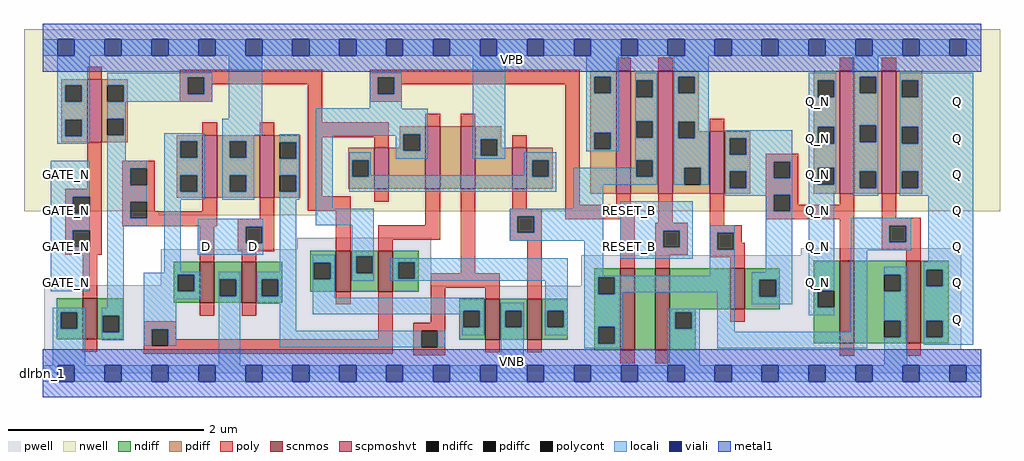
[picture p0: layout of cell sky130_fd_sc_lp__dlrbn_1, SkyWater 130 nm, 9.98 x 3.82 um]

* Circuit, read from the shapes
.subckt sky130_fd_sc_lp__dlrbn_1 D GATE_N RESET_B VGND VNB VPB VPWR Q Q_N
XM1 n1 GATE_N VGND VNB sky130_fd_pr__nfet_01v8 w=0.42 l=0.15
XM2 VGND n1 n2 VNB sky130_fd_pr__nfet_01v8 w=0.42 l=0.15
XM3 n3 D VGND VNB sky130_fd_pr__nfet_01v8 w=0.42 l=0.15
XM4 n4 n1 n5 VNB sky130_fd_pr__nfet_01v8 w=0.42 l=0.15
XM5 n6 n2 n4 VNB sky130_fd_pr__nfet_01v8 w=0.42 l=0.15
XM6 VGND n3 n5 VNB sky130_fd_pr__nfet_01v8 w=0.42 l=0.15
XM7 n6 n7 VGND VNB sky130_fd_pr__nfet_01v8 w=0.42 l=0.15
XM8 n8 n4 n7 VNB sky130_fd_pr__nfet_01v8 w=0.84 l=0.15
XM9 VGND RESET_B n8 VNB sky130_fd_pr__nfet_01v8 w=0.84 l=0.15
XM10 n9 n7 VGND VNB sky130_fd_pr__nfet_01v8 w=0.42 l=0.15
XM11 VGND n9 Q_N VNB sky130_fd_pr__nfet_01v8 w=0.84 l=0.15
XM12 Q n7 VGND VNB sky130_fd_pr__nfet_01v8 w=0.84 l=0.15
XM13 n1 GATE_N VPWR VPB sky130_fd_pr__pfet_01v8_hvt w=0.64 l=0.15
XM14 VPWR n1 n2 VPB sky130_fd_pr__pfet_01v8_hvt w=0.64 l=0.15
XM15 n3 D VPWR VPB sky130_fd_pr__pfet_01v8_hvt w=0.64 l=0.15
XM16 n4 n1 n10 VPB sky130_fd_pr__pfet_01v8_hvt w=0.42 l=0.15
XM17 n11 n2 n4 VPB sky130_fd_pr__pfet_01v8_hvt w=0.64 l=0.15
XM18 VPWR n3 n11 VPB sky130_fd_pr__pfet_01v8_hvt w=0.64 l=0.15
XM19 n10 n7 VPWR VPB sky130_fd_pr__pfet_01v8_hvt w=0.42 l=0.15
XM20 n7 n4 VPWR VPB sky130_fd_pr__pfet_01v8_hvt w=1.26 l=0.15
XM21 VPWR RESET_B n7 VPB sky130_fd_pr__pfet_01v8_hvt w=1.26 l=0.15
XM22 n9 n7 VPWR VPB sky130_fd_pr__pfet_01v8_hvt w=0.64 l=0.15
XM23 VPWR n9 Q_N VPB sky130_fd_pr__pfet_01v8_hvt w=1.26 l=0.15
XM24 Q n7 VPWR VPB sky130_fd_pr__pfet_01v8_hvt w=1.26 l=0.15
.ends

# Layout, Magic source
magic
tech sky130A
magscale 1 2
<< nwell >>
rect -38 331 1958 704
rect 238 323 563 331
<< pwell >>
rect 521 254 795 277
rect 242 180 795 254
rect 1551 241 1879 256
rect 3 179 795 180
rect 1102 179 1879 241
rect 3 49 1879 179
rect 0 0 1920 49
<< scnmos >>
rect 82 70 112 154
rect 321 144 351 228
rect 407 144 437 228
rect 600 167 630 251
rect 686 167 716 251
rect 905 69 935 153
rect 991 69 1021 153
rect 1181 47 1211 215
rect 1253 47 1283 215
rect 1406 131 1436 215
rect 1630 62 1660 230
rect 1766 62 1796 230
<< scpmoshvt >>
rect 91 473 121 601
rect 327 359 357 487
rect 444 359 474 487
rect 678 377 708 461
rect 783 377 813 505
rect 855 377 885 505
rect 960 377 990 461
rect 1173 367 1203 619
rect 1259 367 1289 619
rect 1364 367 1394 495
rect 1630 367 1660 619
rect 1716 367 1746 619
<< ndiff >>
rect 268 202 321 228
rect 268 168 276 202
rect 310 168 321 202
rect 29 125 82 154
rect 29 91 37 125
rect 71 91 82 125
rect 29 70 82 91
rect 112 118 165 154
rect 268 144 321 168
rect 351 192 407 228
rect 351 158 362 192
rect 396 158 407 192
rect 351 144 407 158
rect 437 192 490 228
rect 437 158 448 192
rect 482 158 490 192
rect 547 226 600 251
rect 547 192 555 226
rect 589 192 600 226
rect 547 167 600 192
rect 630 239 686 251
rect 630 205 641 239
rect 675 205 686 239
rect 630 167 686 205
rect 716 227 769 251
rect 716 193 727 227
rect 761 193 769 227
rect 716 167 769 193
rect 437 144 490 158
rect 112 84 123 118
rect 157 84 165 118
rect 112 70 165 84
rect 1128 196 1181 215
rect 1128 162 1136 196
rect 1170 162 1181 196
rect 852 128 905 153
rect 852 94 860 128
rect 894 94 905 128
rect 852 69 905 94
rect 935 128 991 153
rect 935 94 946 128
rect 980 94 991 128
rect 935 69 991 94
rect 1021 128 1074 153
rect 1021 94 1032 128
rect 1066 94 1074 128
rect 1021 69 1074 94
rect 1128 95 1181 162
rect 1128 61 1136 95
rect 1170 61 1181 95
rect 1128 47 1181 61
rect 1211 47 1253 215
rect 1283 131 1406 215
rect 1436 191 1508 215
rect 1436 157 1466 191
rect 1500 157 1508 191
rect 1436 131 1508 157
rect 1577 169 1630 230
rect 1577 135 1585 169
rect 1619 135 1630 169
rect 1283 125 1336 131
rect 1283 91 1294 125
rect 1328 91 1336 125
rect 1283 47 1336 91
rect 1577 62 1630 135
rect 1660 202 1766 230
rect 1660 168 1721 202
rect 1755 168 1766 202
rect 1660 108 1766 168
rect 1660 74 1721 108
rect 1755 74 1766 108
rect 1660 62 1766 74
rect 1796 212 1853 230
rect 1796 178 1807 212
rect 1841 178 1853 212
rect 1796 108 1853 178
rect 1796 74 1807 108
rect 1841 74 1853 108
rect 1796 62 1853 74
<< pdiff >>
rect 38 589 91 601
rect 38 555 46 589
rect 80 555 91 589
rect 38 519 91 555
rect 38 485 46 519
rect 80 485 91 519
rect 38 473 91 485
rect 121 589 174 601
rect 121 555 132 589
rect 166 555 174 589
rect 121 521 174 555
rect 121 487 132 521
rect 166 487 174 521
rect 121 473 174 487
rect 274 475 327 487
rect 274 441 282 475
rect 316 441 327 475
rect 274 405 327 441
rect 274 371 282 405
rect 316 371 327 405
rect 274 359 327 371
rect 357 475 444 487
rect 357 441 383 475
rect 417 441 444 475
rect 357 405 444 441
rect 357 371 383 405
rect 417 371 444 405
rect 357 359 444 371
rect 474 473 527 487
rect 474 439 485 473
rect 519 439 527 473
rect 474 405 527 439
rect 474 371 485 405
rect 519 371 527 405
rect 474 359 527 371
rect 730 489 783 505
rect 730 461 738 489
rect 625 436 678 461
rect 625 402 633 436
rect 667 402 678 436
rect 625 377 678 402
rect 708 455 738 461
rect 772 455 783 489
rect 708 377 783 455
rect 813 377 855 505
rect 885 479 938 505
rect 885 445 896 479
rect 930 461 938 479
rect 930 445 960 461
rect 885 377 960 445
rect 990 436 1043 461
rect 990 402 1001 436
rect 1035 402 1043 436
rect 990 377 1043 402
rect 1120 607 1173 619
rect 1120 573 1128 607
rect 1162 573 1173 607
rect 1120 492 1173 573
rect 1120 458 1128 492
rect 1162 458 1173 492
rect 1120 367 1173 458
rect 1203 599 1259 619
rect 1203 565 1214 599
rect 1248 565 1259 599
rect 1203 516 1259 565
rect 1203 482 1214 516
rect 1248 482 1259 516
rect 1203 436 1259 482
rect 1203 402 1214 436
rect 1248 402 1259 436
rect 1203 367 1259 402
rect 1289 607 1342 619
rect 1289 573 1300 607
rect 1334 573 1342 607
rect 1289 515 1342 573
rect 1577 599 1630 619
rect 1577 565 1585 599
rect 1619 565 1630 599
rect 1289 481 1300 515
rect 1334 495 1342 515
rect 1577 504 1630 565
rect 1334 481 1364 495
rect 1289 420 1364 481
rect 1289 386 1312 420
rect 1346 386 1364 420
rect 1289 367 1364 386
rect 1394 481 1447 495
rect 1394 447 1405 481
rect 1439 447 1447 481
rect 1577 470 1585 504
rect 1619 470 1630 504
rect 1394 413 1447 447
rect 1394 379 1405 413
rect 1439 379 1447 413
rect 1394 367 1447 379
rect 1577 420 1630 470
rect 1577 386 1585 420
rect 1619 386 1630 420
rect 1577 367 1630 386
rect 1660 607 1716 619
rect 1660 573 1671 607
rect 1705 573 1716 607
rect 1660 507 1716 573
rect 1660 473 1671 507
rect 1705 473 1716 507
rect 1660 413 1716 473
rect 1660 379 1671 413
rect 1705 379 1716 413
rect 1660 367 1716 379
rect 1746 599 1799 619
rect 1746 565 1757 599
rect 1791 565 1799 599
rect 1746 504 1799 565
rect 1746 470 1757 504
rect 1791 470 1799 504
rect 1746 413 1799 470
rect 1746 379 1757 413
rect 1791 379 1799 413
rect 1746 367 1799 379
<< ndiffc >>
rect 276 168 310 202
rect 37 91 71 125
rect 362 158 396 192
rect 448 158 482 192
rect 555 192 589 226
rect 641 205 675 239
rect 727 193 761 227
rect 123 84 157 118
rect 1136 162 1170 196
rect 860 94 894 128
rect 946 94 980 128
rect 1032 94 1066 128
rect 1136 61 1170 95
rect 1466 157 1500 191
rect 1585 135 1619 169
rect 1294 91 1328 125
rect 1721 168 1755 202
rect 1721 74 1755 108
rect 1807 178 1841 212
rect 1807 74 1841 108
<< pdiffc >>
rect 46 555 80 589
rect 46 485 80 519
rect 132 555 166 589
rect 132 487 166 521
rect 282 441 316 475
rect 282 371 316 405
rect 383 441 417 475
rect 383 371 417 405
rect 485 439 519 473
rect 485 371 519 405
rect 633 402 667 436
rect 738 455 772 489
rect 896 445 930 479
rect 1001 402 1035 436
rect 1128 573 1162 607
rect 1128 458 1162 492
rect 1214 565 1248 599
rect 1214 482 1248 516
rect 1214 402 1248 436
rect 1300 573 1334 607
rect 1585 565 1619 599
rect 1300 481 1334 515
rect 1312 386 1346 420
rect 1405 447 1439 481
rect 1585 470 1619 504
rect 1405 379 1439 413
rect 1585 386 1619 420
rect 1671 573 1705 607
rect 1671 473 1705 507
rect 1671 379 1705 413
rect 1757 565 1791 599
rect 1757 470 1791 504
rect 1757 379 1791 413
<< poly >>
rect 91 601 121 627
rect 281 605 572 621
rect 281 571 297 605
rect 331 591 572 605
rect 331 571 347 591
rect 281 555 347 571
rect 542 513 572 591
rect 669 605 1099 621
rect 1173 619 1203 645
rect 1259 619 1289 645
rect 1630 619 1660 645
rect 1716 619 1746 645
rect 669 571 685 605
rect 719 591 1099 605
rect 719 571 735 591
rect 669 555 735 571
rect 327 487 357 513
rect 444 487 474 513
rect 91 377 121 473
rect 46 361 121 377
rect 46 327 62 361
rect 96 327 121 361
rect 46 293 121 327
rect 163 419 229 435
rect 163 385 179 419
rect 213 385 229 419
rect 163 351 229 385
rect 542 483 708 513
rect 783 505 813 531
rect 855 505 885 531
rect 542 362 572 483
rect 678 461 708 483
rect 960 461 990 487
rect 163 317 179 351
rect 213 331 229 351
rect 327 331 357 359
rect 213 317 357 331
rect 163 301 357 317
rect 444 316 474 359
rect 542 332 630 362
rect 678 351 708 377
rect 46 259 62 293
rect 96 259 121 293
rect 46 243 121 259
rect 82 154 112 243
rect 321 228 351 301
rect 399 300 474 316
rect 399 266 415 300
rect 449 266 474 300
rect 399 250 474 266
rect 600 251 630 332
rect 783 303 813 377
rect 686 273 813 303
rect 686 251 716 273
rect 407 228 437 250
rect 855 205 885 377
rect 960 337 990 377
rect 1069 345 1099 591
rect 1364 495 1394 521
rect 1479 433 1545 449
rect 1479 399 1495 433
rect 1529 399 1545 433
rect 1173 345 1203 367
rect 955 321 1021 337
rect 955 287 971 321
rect 1005 287 1021 321
rect 1069 315 1211 345
rect 955 271 1021 287
rect 794 175 935 205
rect 321 118 351 144
rect 407 118 437 144
rect 600 141 630 167
rect 207 90 273 106
rect 82 44 112 70
rect 207 56 223 90
rect 257 70 273 90
rect 686 70 716 167
rect 794 103 824 175
rect 905 153 935 175
rect 991 153 1021 271
rect 1181 215 1211 315
rect 1259 308 1289 367
rect 1253 292 1319 308
rect 1253 258 1269 292
rect 1303 258 1319 292
rect 1253 242 1319 258
rect 1364 303 1394 367
rect 1479 365 1545 399
rect 1479 331 1495 365
rect 1529 345 1545 365
rect 1630 345 1660 367
rect 1529 331 1660 345
rect 1479 315 1660 331
rect 1364 287 1430 303
rect 1364 253 1380 287
rect 1414 267 1430 287
rect 1414 253 1436 267
rect 1253 215 1283 242
rect 1364 237 1436 253
rect 1406 215 1436 237
rect 1630 230 1660 315
rect 1716 318 1746 367
rect 1716 302 1796 318
rect 1716 268 1732 302
rect 1766 268 1796 302
rect 1716 252 1796 268
rect 1766 230 1796 252
rect 257 56 716 70
rect 207 40 716 56
rect 758 87 824 103
rect 758 53 774 87
rect 808 53 824 87
rect 758 37 824 53
rect 905 43 935 69
rect 991 43 1021 69
rect 1406 105 1436 131
rect 1181 21 1211 47
rect 1253 21 1283 47
rect 1630 36 1660 62
rect 1766 36 1796 62
<< polycont >>
rect 297 571 331 605
rect 685 571 719 605
rect 62 327 96 361
rect 179 385 213 419
rect 179 317 213 351
rect 62 259 96 293
rect 415 266 449 300
rect 1495 399 1529 433
rect 971 287 1005 321
rect 223 56 257 90
rect 1269 258 1303 292
rect 1495 331 1529 365
rect 1380 253 1414 287
rect 1732 268 1766 302
rect 774 53 808 87
<< locali >>
rect 0 649 31 683
rect 65 649 127 683
rect 161 649 223 683
rect 257 649 319 683
rect 353 649 415 683
rect 449 649 511 683
rect 545 649 607 683
rect 641 649 703 683
rect 737 649 799 683
rect 833 649 895 683
rect 929 649 991 683
rect 1025 649 1087 683
rect 1121 649 1183 683
rect 1217 649 1279 683
rect 1313 649 1375 683
rect 1409 649 1471 683
rect 1505 649 1567 683
rect 1601 649 1663 683
rect 1697 649 1759 683
rect 1793 649 1855 683
rect 1889 649 1920 683
rect 30 589 96 649
rect 30 555 46 589
rect 80 555 96 589
rect 30 519 96 555
rect 30 485 46 519
rect 80 485 96 519
rect 30 469 96 485
rect 132 605 347 615
rect 132 589 297 605
rect 166 571 297 589
rect 331 571 347 605
rect 166 555 347 571
rect 132 521 170 555
rect 381 521 449 649
rect 669 605 735 615
rect 669 571 685 605
rect 719 571 735 605
rect 669 542 735 571
rect 166 487 170 521
rect 132 435 170 487
rect 249 475 332 491
rect 249 441 282 475
rect 316 441 332 475
rect 17 361 96 435
rect 17 327 62 361
rect 17 293 96 327
rect 17 259 62 293
rect 17 168 96 259
rect 132 419 213 435
rect 132 385 179 419
rect 132 351 213 385
rect 132 317 179 351
rect 132 301 213 317
rect 249 405 332 441
rect 249 371 282 405
rect 316 371 332 405
rect 249 355 332 371
rect 367 487 449 521
rect 559 541 735 542
rect 559 489 788 541
rect 367 475 433 487
rect 367 441 383 475
rect 417 441 433 475
rect 367 405 433 441
rect 367 371 383 405
rect 417 371 433 405
rect 367 355 433 371
rect 485 473 525 489
rect 519 439 525 473
rect 485 405 525 439
rect 519 371 525 405
rect 485 355 525 371
rect 559 486 738 489
rect 132 134 166 301
rect 249 208 283 355
rect 317 300 451 316
rect 317 266 415 300
rect 449 266 451 300
rect 317 242 451 266
rect 485 208 519 355
rect 559 337 593 486
rect 722 455 738 486
rect 772 455 788 489
rect 627 436 671 452
rect 722 439 788 455
rect 880 479 946 649
rect 880 445 896 479
rect 930 445 946 479
rect 1112 607 1178 649
rect 1112 573 1128 607
rect 1162 573 1178 607
rect 1112 492 1178 573
rect 1112 458 1128 492
rect 1162 458 1178 492
rect 1112 454 1178 458
rect 1212 599 1257 615
rect 1212 565 1214 599
rect 1248 565 1257 599
rect 1212 516 1257 565
rect 1212 482 1214 516
rect 1248 482 1257 516
rect 880 439 946 445
rect 627 402 633 436
rect 667 405 671 436
rect 985 436 1051 452
rect 985 405 1001 436
rect 667 402 1001 405
rect 1035 402 1051 436
rect 1212 436 1257 482
rect 1212 420 1214 436
rect 627 371 1051 402
rect 1085 402 1214 420
rect 1248 402 1257 436
rect 1085 386 1257 402
rect 1291 607 1362 649
rect 1291 573 1300 607
rect 1334 573 1362 607
rect 1291 515 1362 573
rect 1291 481 1300 515
rect 1334 481 1362 515
rect 1567 599 1623 615
rect 1567 565 1585 599
rect 1619 565 1623 599
rect 1567 504 1623 565
rect 1291 420 1362 481
rect 1291 386 1312 420
rect 1346 386 1362 420
rect 1396 481 1533 497
rect 1396 447 1405 481
rect 1439 447 1533 481
rect 1396 433 1533 447
rect 1396 413 1495 433
rect 1085 337 1147 386
rect 1396 379 1405 413
rect 1439 399 1495 413
rect 1529 399 1533 433
rect 1439 379 1533 399
rect 1396 365 1533 379
rect 1396 363 1495 365
rect 559 303 677 337
rect 249 206 326 208
rect 21 125 87 134
rect 21 91 37 125
rect 71 91 87 125
rect 21 17 87 91
rect 121 118 166 134
rect 121 84 123 118
rect 157 84 166 118
rect 121 68 166 84
rect 207 202 326 206
rect 207 168 276 202
rect 310 168 326 202
rect 207 152 326 168
rect 360 192 404 208
rect 360 158 362 192
rect 396 158 404 192
rect 207 90 273 152
rect 207 56 223 90
rect 257 56 273 90
rect 360 17 404 158
rect 438 192 519 208
rect 438 158 448 192
rect 482 158 519 192
rect 438 142 519 158
rect 485 87 519 142
rect 553 226 598 242
rect 553 192 555 226
rect 589 192 598 226
rect 553 155 598 192
rect 632 239 677 303
rect 955 321 1147 337
rect 955 287 971 321
rect 1005 287 1147 321
rect 955 271 1147 287
rect 632 205 641 239
rect 675 205 677 239
rect 632 189 677 205
rect 711 227 1074 235
rect 711 193 727 227
rect 761 193 1074 227
rect 711 189 1074 193
rect 553 128 903 155
rect 553 121 860 128
rect 858 94 860 121
rect 894 94 903 128
rect 485 53 774 87
rect 808 53 824 87
rect 858 78 903 94
rect 937 128 984 144
rect 937 94 946 128
rect 980 94 984 128
rect 937 17 984 94
rect 1028 128 1074 189
rect 1028 94 1032 128
rect 1066 94 1074 128
rect 1028 78 1074 94
rect 1108 200 1147 271
rect 1181 292 1330 352
rect 1479 331 1495 363
rect 1529 331 1533 365
rect 1181 258 1269 292
rect 1303 258 1330 292
rect 1181 234 1330 258
rect 1364 287 1416 303
rect 1364 253 1380 287
rect 1414 253 1416 287
rect 1364 200 1416 253
rect 1479 207 1533 331
rect 1108 196 1416 200
rect 1108 162 1136 196
rect 1170 166 1416 196
rect 1170 162 1186 166
rect 1108 95 1186 162
rect 1108 61 1136 95
rect 1170 61 1186 95
rect 1108 51 1186 61
rect 1278 125 1344 132
rect 1278 91 1294 125
rect 1328 91 1344 125
rect 1278 17 1344 91
rect 1380 85 1416 166
rect 1450 191 1533 207
rect 1450 157 1466 191
rect 1500 157 1533 191
rect 1450 141 1533 157
rect 1567 470 1585 504
rect 1619 470 1623 504
rect 1567 420 1623 470
rect 1567 386 1585 420
rect 1619 386 1623 420
rect 1567 370 1623 386
rect 1657 607 1709 649
rect 1657 573 1671 607
rect 1705 573 1709 607
rect 1657 507 1709 573
rect 1657 473 1671 507
rect 1705 473 1709 507
rect 1657 413 1709 473
rect 1657 379 1671 413
rect 1705 379 1709 413
rect 1567 169 1619 370
rect 1657 363 1709 379
rect 1753 599 1903 615
rect 1753 565 1757 599
rect 1791 565 1903 599
rect 1753 504 1903 565
rect 1753 470 1757 504
rect 1791 470 1903 504
rect 1753 413 1903 470
rect 1753 379 1757 413
rect 1791 379 1903 413
rect 1753 363 1903 379
rect 1567 135 1585 169
rect 1567 119 1619 135
rect 1653 302 1777 318
rect 1653 268 1732 302
rect 1766 268 1777 302
rect 1653 252 1777 268
rect 1653 85 1687 252
rect 1811 228 1903 363
rect 1380 51 1687 85
rect 1721 202 1768 218
rect 1755 168 1768 202
rect 1721 108 1768 168
rect 1755 74 1768 108
rect 1721 17 1768 74
rect 1802 212 1903 228
rect 1802 178 1807 212
rect 1841 178 1903 212
rect 1802 108 1903 178
rect 1802 74 1807 108
rect 1841 74 1903 108
rect 1802 58 1903 74
rect 0 -17 31 17
rect 65 -17 127 17
rect 161 -17 223 17
rect 257 -17 319 17
rect 353 -17 415 17
rect 449 -17 511 17
rect 545 -17 607 17
rect 641 -17 703 17
rect 737 -17 799 17
rect 833 -17 895 17
rect 929 -17 991 17
rect 1025 -17 1087 17
rect 1121 -17 1183 17
rect 1217 -17 1279 17
rect 1313 -17 1375 17
rect 1409 -17 1471 17
rect 1505 -17 1567 17
rect 1601 -17 1663 17
rect 1697 -17 1759 17
rect 1793 -17 1855 17
rect 1889 -17 1920 17
<< viali >>
rect 31 649 65 683
rect 127 649 161 683
rect 223 649 257 683
rect 319 649 353 683
rect 415 649 449 683
rect 511 649 545 683
rect 607 649 641 683
rect 703 649 737 683
rect 799 649 833 683
rect 895 649 929 683
rect 991 649 1025 683
rect 1087 649 1121 683
rect 1183 649 1217 683
rect 1279 649 1313 683
rect 1375 649 1409 683
rect 1471 649 1505 683
rect 1567 649 1601 683
rect 1663 649 1697 683
rect 1759 649 1793 683
rect 1855 649 1889 683
rect 31 -17 65 17
rect 127 -17 161 17
rect 223 -17 257 17
rect 319 -17 353 17
rect 415 -17 449 17
rect 511 -17 545 17
rect 607 -17 641 17
rect 703 -17 737 17
rect 799 -17 833 17
rect 895 -17 929 17
rect 991 -17 1025 17
rect 1087 -17 1121 17
rect 1183 -17 1217 17
rect 1279 -17 1313 17
rect 1375 -17 1409 17
rect 1471 -17 1505 17
rect 1567 -17 1601 17
rect 1663 -17 1697 17
rect 1759 -17 1793 17
rect 1855 -17 1889 17
<< metal1 >>
rect 0 683 1920 715
rect 0 649 31 683
rect 65 649 127 683
rect 161 649 223 683
rect 257 649 319 683
rect 353 649 415 683
rect 449 649 511 683
rect 545 649 607 683
rect 641 649 703 683
rect 737 649 799 683
rect 833 649 895 683
rect 929 649 991 683
rect 1025 649 1087 683
rect 1121 649 1183 683
rect 1217 649 1279 683
rect 1313 649 1375 683
rect 1409 649 1471 683
rect 1505 649 1567 683
rect 1601 649 1663 683
rect 1697 649 1759 683
rect 1793 649 1855 683
rect 1889 649 1920 683
rect 0 617 1920 649
rect 0 17 1920 49
rect 0 -17 31 17
rect 65 -17 127 17
rect 161 -17 223 17
rect 257 -17 319 17
rect 353 -17 415 17
rect 449 -17 511 17
rect 545 -17 607 17
rect 641 -17 703 17
rect 737 -17 799 17
rect 833 -17 895 17
rect 929 -17 991 17
rect 1025 -17 1087 17
rect 1121 -17 1183 17
rect 1217 -17 1279 17
rect 1313 -17 1375 17
rect 1409 -17 1471 17
rect 1505 -17 1567 17
rect 1601 -17 1663 17
rect 1697 -17 1759 17
rect 1793 -17 1855 17
rect 1889 -17 1920 17
rect 0 -49 1920 -17
<< labels >>
flabel pwell s 0 0 1920 49 0 FreeSans 200 0 0 0 VNB
port 5 nsew ground bidirectional
flabel nwell s 0 617 1920 666 0 FreeSans 200 0 0 0 VPB
port 6 nsew power bidirectional
rlabel comment s 0 0 0 0 4 dlrbn_1
flabel metal1 s 0 617 1920 666 0 FreeSans 340 0 0 0 VPWR
port 7 nsew power bidirectional
flabel metal1 s 0 0 1920 49 0 FreeSans 340 0 0 0 VGND
port 4 nsew ground bidirectional
flabel locali s 319 242 353 276 0 FreeSans 340 0 0 0 D
port 1 nsew signal input
flabel locali s 415 242 449 276 0 FreeSans 340 0 0 0 D
port 1 nsew signal input
flabel locali s 31 168 65 202 0 FreeSans 340 0 0 0 GATE_N
port 2 nsew clock input
flabel locali s 31 242 65 276 0 FreeSans 340 0 0 0 GATE_N
port 2 nsew clock input
flabel locali s 31 316 65 350 0 FreeSans 340 0 0 0 GATE_N
port 2 nsew clock input
flabel locali s 31 390 65 424 0 FreeSans 340 0 0 0 GATE_N
port 2 nsew clock input
flabel locali s 1183 242 1217 276 0 FreeSans 340 0 0 0 RESET_B
port 3 nsew signal input
flabel locali s 1183 316 1217 350 0 FreeSans 340 0 0 0 RESET_B
port 3 nsew signal input
flabel locali s 1279 242 1313 276 0 FreeSans 340 0 0 0 RESET_B
port 3 nsew signal input
flabel locali s 1279 316 1313 350 0 FreeSans 340 0 0 0 RESET_B
port 3 nsew signal input
flabel locali s 1855 94 1889 128 0 FreeSans 340 0 0 0 Q
port 8 nsew signal output
flabel locali s 1855 168 1889 202 0 FreeSans 340 0 0 0 Q
port 8 nsew signal output
flabel locali s 1855 242 1889 276 0 FreeSans 340 0 0 0 Q
port 8 nsew signal output
flabel locali s 1855 316 1889 350 0 FreeSans 340 0 0 0 Q
port 8 nsew signal output
flabel locali s 1855 390 1889 424 0 FreeSans 340 0 0 0 Q
port 8 nsew signal output
flabel locali s 1855 464 1889 498 0 FreeSans 340 0 0 0 Q
port 8 nsew signal output
flabel locali s 1855 538 1889 572 0 FreeSans 340 0 0 0 Q
port 8 nsew signal output
flabel locali s 1567 168 1601 202 0 FreeSans 340 0 0 0 Q_N
port 9 nsew signal output
flabel locali s 1567 242 1601 276 0 FreeSans 340 0 0 0 Q_N
port 9 nsew signal output
flabel locali s 1567 316 1601 350 0 FreeSans 340 0 0 0 Q_N
port 9 nsew signal output
flabel locali s 1567 390 1601 424 0 FreeSans 340 0 0 0 Q_N
port 9 nsew signal output
flabel locali s 1567 464 1601 498 0 FreeSans 340 0 0 0 Q_N
port 9 nsew signal output
flabel locali s 1567 538 1601 572 0 FreeSans 340 0 0 0 Q_N
port 9 nsew signal output
<< properties >>
string LEFsite unit
string LEFclass CORE
string FIXED_BBOX 0 0 1920 666
string GDS_FILE $PDKPATH/libs.ref/sky130_fd_sc_lp/gds/sky130_fd_sc_lp.gds
string LEFsymmetry X Y R90
string GDS_END 6234122
string GDS_START 6217974
<< end >>
